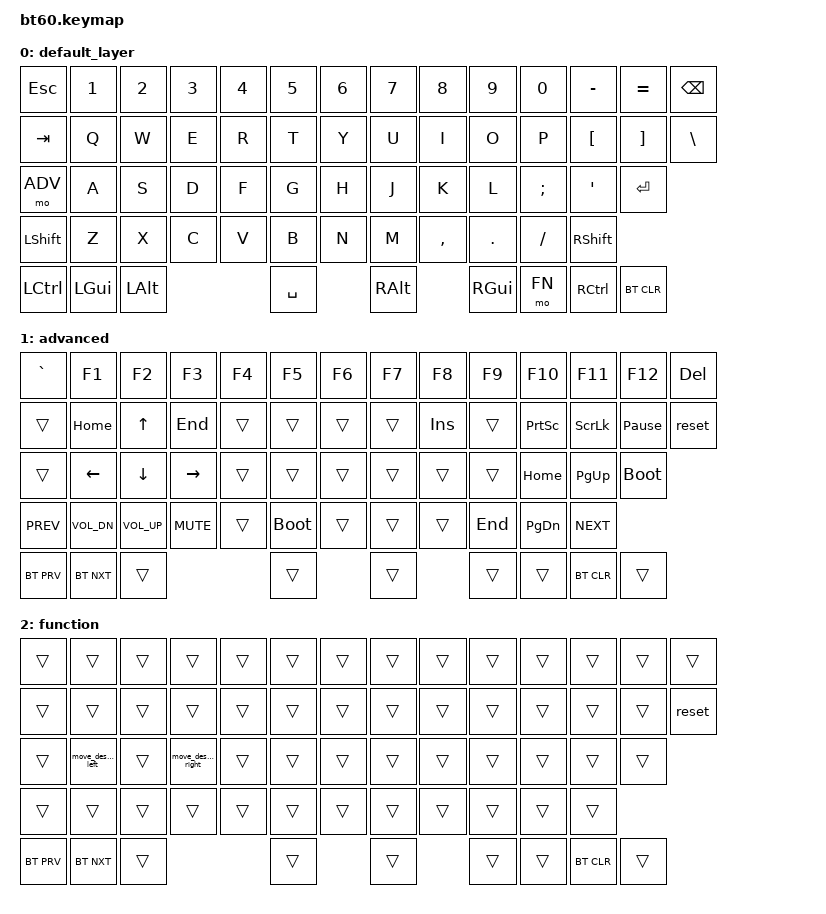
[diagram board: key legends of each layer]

/*
 * Copyright (c) 2020 The ZMK Contributors
 *
 * SPDX-License-Identifier: MIT
 */


/* THIS FILE WAS GENERATED!
 *
 * This file was generated automatically. You may or may not want to
 * edit it directly.
 */

#include <behaviors.dtsi>
#include <dt-bindings/zmk/keys.h>
#include <dt-bindings/zmk/rgb.h>
#include <dt-bindings/zmk/backlight.h>
#include <dt-bindings/zmk/bt.h>

#define DEFAULT 0
#define ADV   	1
#define FN   	2

/ {
    macros {
        move_desktop_left: move_desktop_left {            
            label = "move_desktop_left";            
            compatible = "zmk,behavior-macro";            
            #binding-cells = <0>;            
            bindings                
            = <&macro_press &kp LCTRL &kp LALT>                
            , <&macro_tap &kp LEFT>                
            , <&macro_release &kp LCTRL &kp LALT>                
            ;        
        };
        move_desktop_right: move_desktop_right {            
            label = "move_desktop_right";            
            compatible = "zmk,behavior-macro";            
            #binding-cells = <0>;            
            bindings                
            = <&macro_press &kp LCTRL &kp LALT>                
            , <&macro_tap &kp RIGHT>                
            , <&macro_release &kp LCTRL &kp LALT>                
            ;        
        };
    };
    keymap {
        compatible = "zmk,keymap";


        default_layer {
            bindings = <
                &kp ESC    &kp N1    &kp N2    &kp N3     &kp N4    &kp N5            &kp N6       &kp N7     &kp N8      &kp N9    &kp N0    &kp MINUS  &kp EQUAL  &kp BSPC
                &kp TAB    &kp Q     &kp W     &kp E      &kp R     &kp T             &kp Y        &kp U      &kp I       &kp O     &kp P     &kp LBKT   &kp RBKT  &kp BSLH
                &mo ADV      &kp A     &kp S     &kp D      &kp F     &kp G             &kp H        &kp J      &kp K       &kp L     &kp SEMI  &kp SQT    &kp RET
                &kp LSHFT  &kp Z     &kp X     &kp C      &kp V     &kp B             &kp N        &kp M      &kp COMMA   &kp DOT   &kp FSLH  &kp RSHFT
                &kp LCTRL  &kp LGUI  &kp LALT                              &kp SPACE               &kp RALT               &kp RGUI  &mo FN     &kp RCTRL  &bt BT_CLR
            >;
        };

        advanced {
            bindings = <
                &kp GRAVE   &kp F1        &kp F2        &kp F3       &kp F4       &kp F5            &kp F6  &kp F7      &kp F8    &kp F9   &kp F10     &kp F11        &kp F12  &kp DEL
                &trans      &kp HOME      &kp UP        &kp END      &trans       &trans            &trans  &trans      &kp INS   &trans   &kp PSCRN   &kp SLCK       &kp PAUSE_BREAK   &reset
                &trans      &kp LEFT      &kp DOWN      &kp RIGHT    &trans       &trans            &trans  &trans      &trans    &trans   &kp HOME    &kp PG_UP      &bootloader
                &kp C_PREV  &kp C_VOL_DN  &kp C_VOL_UP  &kp C_MUTE   &trans       &bootloader       &trans  &trans      &trans    &kp END  &kp PG_DN   &kp C_NEXT
                &bt BT_PRV   &bt BT_NXT    &trans        &trans       &trans       &trans            &trans  &bt BT_CLR   &trans
            >;
        };
        function {
            bindings = <
                &trans      &trans              &trans    &trans                &trans       &trans            &trans  &trans       &trans   &trans   &trans     &trans  &trans  &trans
                &trans      &trans              &trans    &trans                &trans       &trans            &trans  &trans       &trans   &trans   &trans     &trans    &trans   &reset
                &trans      &move_desktop_left  &trans    &move_desktop_right   &trans       &trans            &trans  &trans       &trans   &trans   &trans     &trans    &trans
                &trans      &trans              &trans    &trans                &trans       &trans            &trans  &trans       &trans   &trans   &trans     &trans
                &bt BT_PRV  &bt BT_NXT          &trans    &trans                &trans       &trans            &trans  &bt BT_CLR   &trans
            >;
        };

    };
};
